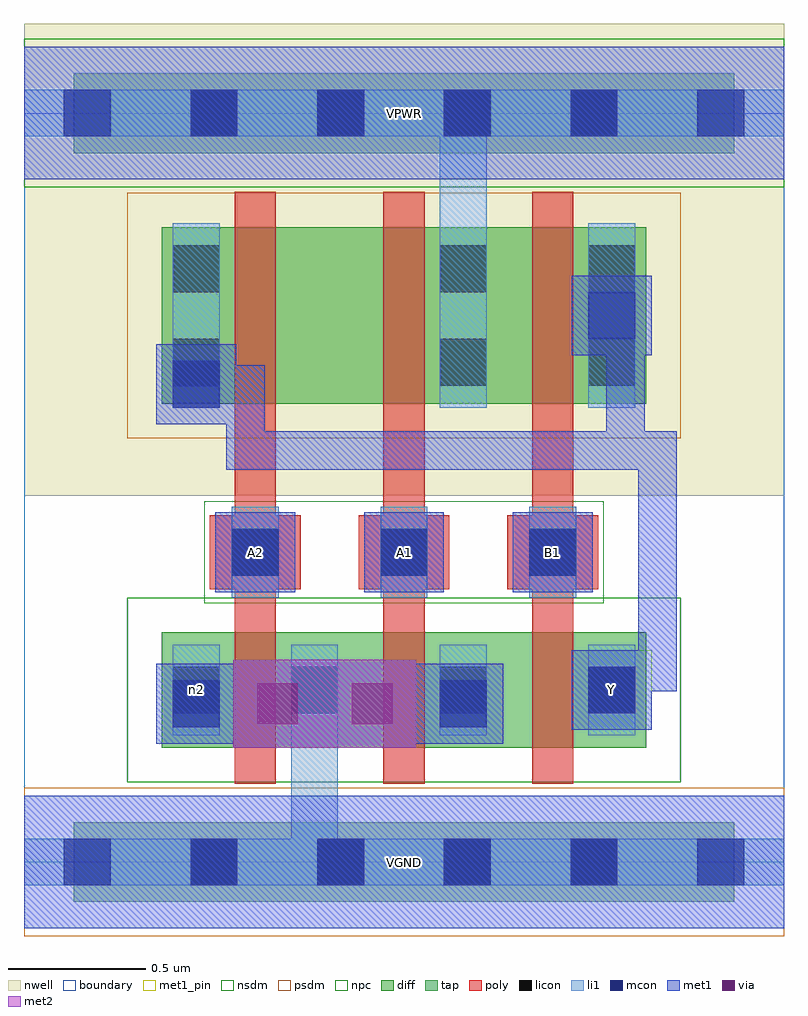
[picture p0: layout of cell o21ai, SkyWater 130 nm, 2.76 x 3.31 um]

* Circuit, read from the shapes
.subckt o21ai A1 A2 B1 VGND VPWR Y n2
XM1 VGND A2 n2 VGND sky130_fd_pr__nfet_01v8 w=0.42 l=0.15
XM2 n2 A1 VGND VGND sky130_fd_pr__nfet_01v8 w=0.42 l=0.15
XM3 Y B1 n2 VGND sky130_fd_pr__nfet_01v8 w=0.42 l=0.15
XM4 n1 A2 Y VPWR sky130_fd_pr__pfet_01v8 w=0.64 l=0.15
XM5 VPWR A1 n1 VPWR sky130_fd_pr__pfet_01v8 w=0.64 l=0.15
XM6 Y B1 VPWR VPWR sky130_fd_pr__pfet_01v8 w=0.64 l=0.15
.ends

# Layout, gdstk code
import gdstk
lib = gdstk.Library(unit=1e-6, precision=1e-09)
def R(c, l, rs):  # rectangles x0, y0, x1, y1
    for r in rs: c.add(gdstk.rectangle(r[:2], r[2:], *l))
def A(c, l, x, y, w, h, nx, ny, dx, dy):  # array of equal rectangles
    R(c, l, [(x+i*dx, y+j*dy, x+i*dx+w, y+j*dy+h) for i in range(nx) for j in range(ny)])
nwell = (64, 20)
diff = (65, 20)
tap = (65, 44)
poly = (66, 20)
licon = (66, 44)
li1 = (67, 20)
mcon = (67, 44)
met1_pin = (68, 16)
met1 = (68, 20)
via = (68, 44)
met2 = (69, 20)
nsdm = (93, 44)
psdm = (94, 20)
npc = (95, 20)
boundary = (235, 4)

o21ai = lib.new_cell('o21ai')
R(o21ai, nwell, [(0,1.33,2.76,3.045)])
R(o21ai, diff, [(0.5,0.415,2.26,0.835), (0.5,1.665,2.26,2.305)])
R(o21ai, tap, [(0.18,-0.145,2.58,0.145), (0.18,2.575,2.58,2.865)])
A(o21ai, poly, 0.765, 0.285, 0.15, 2.15, 3, 1, 0.54, 0)
A(o21ai, poly, 0.675, 0.99, 0.33, 0.27, 3, 1, 0.54, 0)
A(o21ai, licon, 0.605, -0.085, 0.17, 0.17, 4, 2, 0.46, 2.72)
A(o21ai, licon, 0.97, 0.54, 0.17, 0.17, 3, 1, 0.54, 0)
A(o21ai, licon, 0.755, 1.04, 0.17, 0.17, 3, 1, 0.54, 0)
R(o21ai, licon, [(0.54,0.54,0.71,0.71), (0.54,1.73,0.71,1.9), (1.51,1.73,1.68,1.9), (2.05,1.73,2.22,1.9), (0.54,2.07,0.71,2.24), (1.51,2.07,1.68,2.24), (2.05,2.07,2.22,2.24)])
A(o21ai, li1, 0.97, 0.46, 0.17, 0.33, 3, 1, 0.54, 0)
A(o21ai, li1, 0.755, 0.96, 0.17, 0.33, 3, 1, 0.54, 0)
R(o21ai, li1, [(0,-0.085,2.76,0.085), (0.97,-0.085,1.14,0.79), (0.54,0.46,0.71,0.79), (0.54,1.65,0.71,2.32), (1.51,1.65,1.68,2.32), (1.51,1.65,1.68,2.805), (2.05,1.65,2.22,2.32), (0,2.635,2.76,2.805)])
A(o21ai, mcon, 0.145, -0.085, 0.17, 0.17, 6, 2, 0.46, 2.72)
A(o21ai, mcon, 0.755, 1.04, 0.17, 0.17, 3, 1, 0.54, 0)
R(o21ai, mcon, [(0.54,0.49,0.71,0.66), (1.51,0.49,1.68,0.66), (2.05,0.54,2.22,0.71), (0.54,1.65,0.71,1.82), (2.05,1.9,2.22,2.07)])
A(o21ai, met1_pin, 0.695, 0.98, 0.29, 0.29, 3, 1, 0.54, 0)
R(o21ai, met1_pin, [(0,-0.24,2.76,0.24), (1.99,0.48,2.28,0.77), (0,2.48,2.76,2.96)])
A(o21ai, met1, 0.695, 0.98, 0.29, 0.29, 3, 1, 0.54, 0)
R(o21ai, met1, [(0,-0.24,2.76,0.24), (0.76,0.415,1.08,0.735), (1.08,0.415,1.105,0.735), (1.105,0.415,1.425,0.735), (0.48,0.43,0.77,0.72), (1.425,0.43,1.45,0.72), (1.45,0.43,1.74,0.72), (1.99,0.48,2.28,0.77), (0.555,0.505,0.875,0.645), (0.735,0.505,0.99,0.645), (0.99,0.505,1.105,0.645), (1.08,0.505,1.195,0.645), (1.195,0.505,1.565,0.645), (1.425,0.505,1.665,0.645), (2.115,0.62,2.37,0.76), (2.115,0.62,2.255,0.76), (2.23,0.62,2.37,1.565), (0.735,1.425,2.255,1.565), (0.735,1.425,0.875,1.68), (2.115,1.425,2.37,1.565), (2.115,1.425,2.255,2.025), (0.735,1.54,0.875,1.805), (0.48,1.59,0.77,1.88), (0.555,1.665,0.875,1.805), (1.99,1.84,2.28,2.13), (2.115,1.885,2.255,2.025), (0,2.48,2.76,2.96)])
R(o21ai, via, [(0.845,0.5,0.995,0.65), (1.19,0.5,1.34,0.65)])
R(o21ai, met2, [(0.76,0.415,1.08,0.735), (1.08,0.415,1.105,0.735), (1.105,0.415,1.425,0.735), (0.85,0.505,1.335,0.645)])
R(o21ai, nsdm, [(0.375,0.29,2.385,0.96), (0,2.45,2.76,2.99)])
R(o21ai, psdm, [(0,-0.27,2.76,0.27), (0.375,1.54,2.385,2.43)])
R(o21ai, npc, [(0.655,0.94,2.105,1.31)])
R(o21ai, boundary, [(0,0,2.76,2.72)])
o21ai.add(gdstk.Label('n2', (0.625,0.625), layer=67, texttype=5))
o21ai.add(gdstk.Label('A1', (1.38,1.125), layer=68, texttype=5))
o21ai.add(gdstk.Label('A2', (0.84,1.125), layer=68, texttype=5))
o21ai.add(gdstk.Label('B1', (1.92,1.125), layer=68, texttype=5))
o21ai.add(gdstk.Label('Y', (2.135,0.625), layer=68, texttype=5))
o21ai.add(gdstk.Label('VPWR', (1.38,2.72), layer=68, texttype=5))
o21ai.add(gdstk.Label('VGND', (1.38,0), layer=68, texttype=5))
o21ai.add(gdstk.Label('A1', (1.38,1.125), layer=68, texttype=16))
o21ai.add(gdstk.Label('A2', (0.84,1.125), layer=68, texttype=16))
o21ai.add(gdstk.Label('B1', (1.92,1.125), layer=68, texttype=16))
o21ai.add(gdstk.Label('Y', (2.135,0.625), layer=68, texttype=16))
o21ai.add(gdstk.Label('VPWR', (1.38,2.72), layer=68, texttype=16))
o21ai.add(gdstk.Label('VGND', (1.38,0), layer=68, texttype=16))

lib.write_gds('o21ai.gds')
